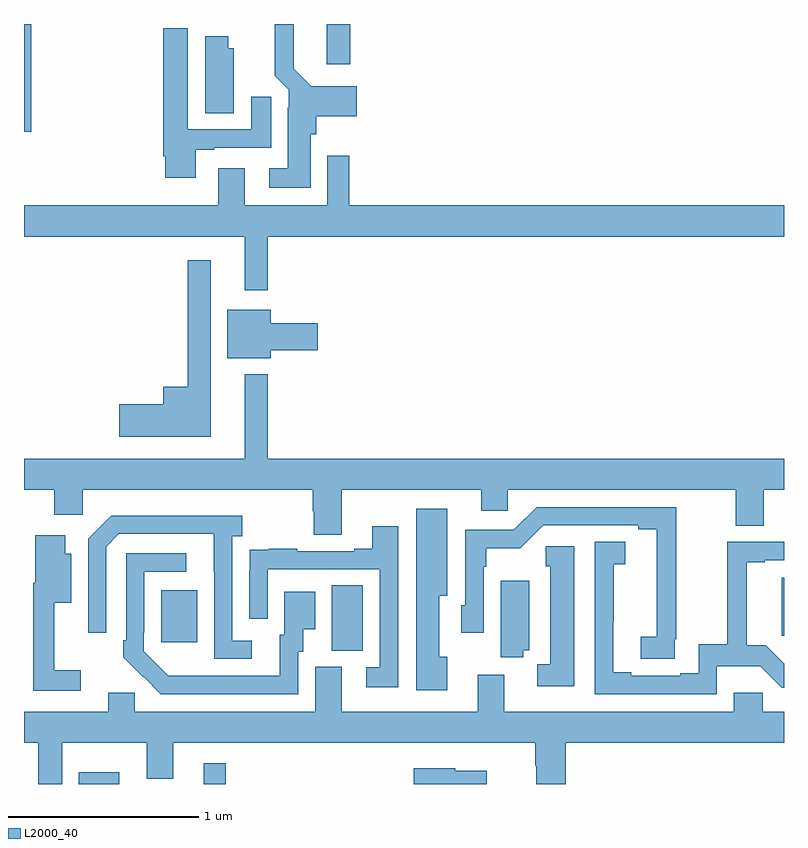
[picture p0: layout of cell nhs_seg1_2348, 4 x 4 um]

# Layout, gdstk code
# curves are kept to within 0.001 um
import gdstk
lib = gdstk.Library(unit=1e-6, precision=1e-09)
def R(c, l, rs):  # rectangles x0, y0, x1, y1
    for r in rs: c.add(gdstk.rectangle(r[:2], r[2:], *l))
def P(c, l, *ps):  # polygons
    for p in ps: c.add(gdstk.Polygon(p, *l))
L2000_40 = (2000, 40)

nhs_seg1_2348 = lib.new_cell('nhs_seg1_2348')
R(nhs_seg1_2348, L2000_40, [(239.288,534.199,239.5,534.262), (239.946,534.199,240.062,534.307), (240.62,534.901,240.784,535.244), (239.723,534.945,239.911,535.219), (242.987,534.98,243,535.285), (239,537.633,239.039,538.199), (240.593,537.987,240.716,538.199)])
P(nhs_seg1_2348, L2000_40, [(240.508,537.618),(240.539,537.618),(240.539,537.713),(240.751,537.713),(240.751,537.871),(240.513,537.871),(240.421,537.964),(240.421,538.199),(240.319,538.199),(240.319,537.926),(240.393,537.852),(240.393,537.758),(240.389,537.758),(240.389,537.439),(240.291,537.439),(240.291,537.338),(240.508,537.338)],
  [(239.905,537.537),(240.001,537.537),(240.001,537.549),(240.301,537.549),(240.301,537.817),(240.197,537.817),(240.197,537.645),(239.863,537.645),(239.863,538.177),(239.732,538.177),(239.732,537.502),(239.744,537.502),(239.744,537.39),(239.905,537.39)],
  [(240.103,538.071),(240.076,538.071),(240.076,538.135),(239.954,538.135),(239.954,537.73),(240.103,537.73)],
  [(240.283,537.08),(243,537.08),(243,537.244),(240.713,537.244),(240.713,537.505),(240.597,537.505),(240.597,537.244),(240.163,537.244),(240.163,537.439),(240.023,537.439),(240.023,537.244),(239,537.244),(239,537.08),(240.161,537.08),(240.161,536.799),(240.283,536.799)],
  [(239.983,536.956),(239.862,536.956),(239.862,536.29),(239.732,536.29),(239.732,536.198),(239.502,536.198),(239.502,536.027),(239.983,536.027)],
  [(240.298,536.483),(240.547,536.483),(240.547,536.625),(240.298,536.625),(240.298,536.695),(240.071,536.695),(240.071,536.441),(240.298,536.441)],
  [(240.673,535.748),(241.406,535.748),(241.406,535.638),(241.545,535.638),(241.545,535.748),(242.746,535.748),(242.746,535.558),(242.893,535.558),(242.893,535.748),(243,535.748),(243,535.912),(240.283,535.912),(240.283,536.356),(240.161,536.356),(240.161,535.912),(239,535.912),(239,535.748),(239.159,535.748),(239.159,535.617),(239.31,535.617),(239.31,535.748),(240.521,535.748),(240.521,535.635),(240.526,535.635),(240.526,535.51),(240.673,535.51)],
  [(242.426,534.961),(242.432,534.961),(242.432,535.656),(241.698,535.656),(241.578,535.536),(241.323,535.536),(241.323,535.14),(241.302,535.14),(241.302,534.996),(241.419,534.996),(241.419,535.343),(241.432,535.343),(241.432,535.439),(241.613,535.439),(241.734,535.56),(242.234,535.56),(242.234,535.54),(242.33,535.54),(242.329,534.974),(242.247,534.974),(242.247,534.859),(242.426,534.859)],
  [(241.228,534.87),(241.186,534.87),(241.186,535.19),(241.228,535.19),(241.228,535.648),(241.064,535.648),(241.064,534.692),(241.228,534.692)],
  [(240.199,534.954),(240.096,534.954),(240.096,535.502),(240.148,535.502),(240.148,535.612),(239.458,535.612),(239.337,535.491),(239.337,534.996),(239.433,534.996),(239.433,535.449),(239.499,535.515),(239.999,535.515),(240,534.858),(240.199,534.858)],
  [(240.969,535.555),(240.833,535.555),(240.833,535.438),(240.737,535.438),(240.737,535.425),(240.437,535.425),(240.437,535.438),(240.289,535.438),(240.289,535.431),(240.187,535.431),(240.187,535.322),(240.186,535.322),(240.186,535.068),(240.282,535.068),(240.282,535.329),(240.873,535.329),(240.873,534.813),(240.801,534.813),(240.801,534.708),(240.969,534.708)],
  [(239.299,534.799),(239.159,534.799),(239.159,535.154),(239.248,535.154),(239.248,535.411),(239.218,535.411),(239.218,535.507),(239.06,535.507),(239.06,535.258),(239.049,535.258),(239.049,534.69),(239.299,534.69)],
  [(242.646,534.818),(242.875,534.818),(242.988,534.705),(243,534.705),(243,534.831),(242.903,534.928),(242.804,534.928),(242.804,535.365),(242.899,535.365),(242.899,535.377),(243,535.377),(243,535.473),(242.701,535.473),(242.701,534.935),(242.55,534.935),(242.55,534.782),(242.453,534.782),(242.453,534.768),(242.197,534.768),(242.197,534.788),(242.101,534.788),(242.101,535.051),(242.103,535.051),(242.103,535.355),(242.164,535.355),(242.164,535.475),(242.004,535.475),(242.004,534.672),(242.646,534.672)],
  [(241.897,535.45),(241.747,535.45),(241.747,535.344),(241.769,535.344),(241.769,534.828),(241.701,534.828),(241.701,534.713),(241.897,534.713)],
  [(240.444,534.894),(240.469,534.894),(240.469,535.013),(240.532,535.013),(240.532,535.21),(240.371,535.21),(240.371,534.984),(240.347,534.984),(240.347,534.768),(239.76,534.769),(239.631,534.897),(239.631,534.997),(239.634,534.997),(239.634,535.317),(239.854,535.317),(239.854,535.413),(239.538,535.413),(239.538,534.955),(239.523,534.955),(239.523,534.867),(239.72,534.672),(240.444,534.672)],
  [(241.628,534.902),(241.66,534.902),(241.66,535.27),(241.508,535.27),(241.508,534.865),(241.628,534.865)],
  [(239.583,534.678),(239.444,534.678),(239.444,534.58),(239,534.58),(239,534.416),(239.075,534.416),(239.075,534.199),(239.2,534.199),(239.2,534.416),(239.645,534.416),(239.645,534.227),(239.785,534.227),(239.785,534.416),(241.69,534.416),(241.69,534.296),(241.697,534.296),(241.697,534.199),(241.85,534.199),(241.85,534.416),(243,534.416),(243,534.58),(242.887,534.58),(242.887,534.678),(242.735,534.678),(242.735,534.58),(241.528,534.58),(241.528,534.775),(241.388,534.775),(241.388,534.58),(240.673,534.58),(240.673,534.816),(240.533,534.816),(240.533,534.58),(239.583,534.58)],
  [(241.435,534.268),(241.269,534.268),(241.269,534.283),(241.052,534.283),(241.052,534.199),(241.435,534.199)])

lib.write_gds('nhs_seg1_2348.gds')
